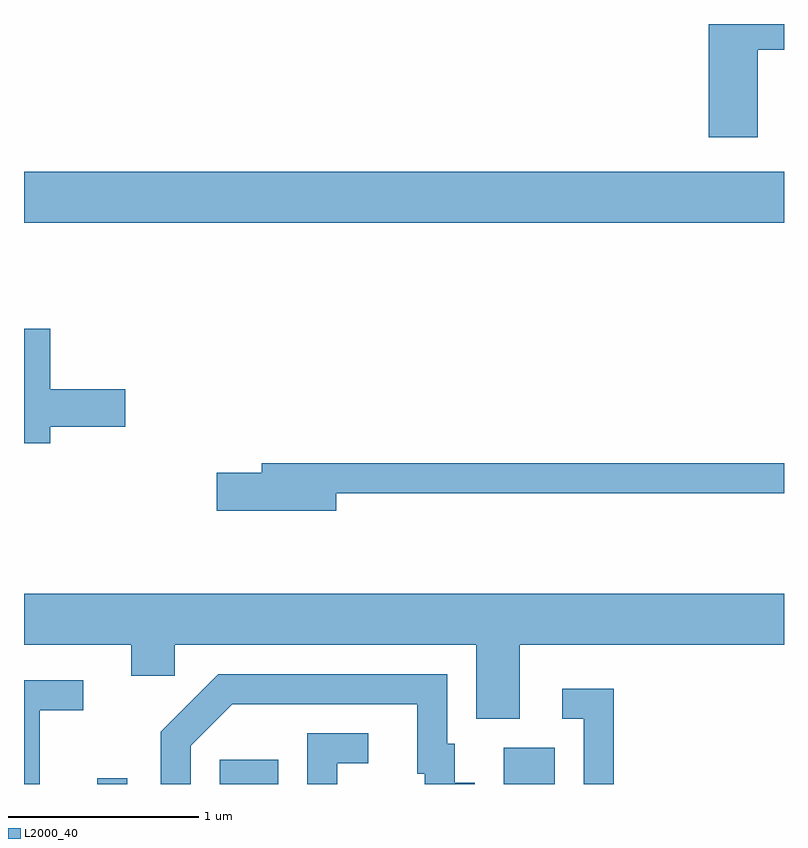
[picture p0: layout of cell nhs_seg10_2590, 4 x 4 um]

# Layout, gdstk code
import gdstk
lib = gdstk.Library(unit=1e-6, precision=1e-09)
def R(c, l, rs):  # rectangles x0, y0, x1, y1
    for r in rs: c.add(gdstk.rectangle(r[:2], r[2:], *l))
def P(c, l, *ps):  # polygons
    for p in ps: c.add(gdstk.Polygon(p, *l))
L2000_40 = (2000, 40)

nhs_seg10_2590 = lib.new_cell('nhs_seg10_2590')
R(nhs_seg10_2590, L2000_40, [(261.996,2106.522,262.154,2106.553), (262.641,2106.522,262.949,2106.649), (264.136,2106.522,264.404,2106.714), (261.611,2109.476,265.611,2109.744)])
P(nhs_seg10_2590, L2000_40, [(265.474,2110.386),(265.611,2110.386),(265.611,2110.522),(265.216,2110.522),(265.216,2109.926),(265.474,2109.926)],
  [(261.749,2108.401),(262.144,2108.401),(262.144,2108.599),(261.749,2108.599),(261.749,2108.919),(261.611,2108.919),(261.611,2108.316),(261.749,2108.316)],
  [(263.254,2108.051),(265.611,2108.051),(265.611,2108.209),(262.861,2108.209),(262.861,2108.159),(262.626,2108.159),(262.626,2107.961),(263.254,2107.961)],
  [(264.219,2107.256),(265.611,2107.256),(265.611,2107.524),(261.611,2107.524),(261.611,2107.256),(262.176,2107.256),(262.176,2107.091),(262.404,2107.091),(262.404,2107.256),(263.991,2107.256),(263.991,2106.866),(264.219,2106.866)],
  [(262.489,2106.724),(262.707,2106.941),(263.681,2106.941),(263.681,2106.576),(263.721,2106.576),(263.721,2106.522),(263.984,2106.522),(263.984,2106.529),(263.879,2106.529),(263.879,2106.734),(263.839,2106.734),(263.839,2107.099),(262.634,2107.099),(262.331,2106.797),(262.331,2106.522),(262.489,2106.522)],
  [(261.694,2106.911),(261.923,2106.911),(261.923,2107.069),(261.611,2107.069),(261.611,2106.522),(261.694,2106.522)],
  [(264.714,2107.024),(264.443,2107.024),(264.443,2106.866),(264.556,2106.866),(264.556,2106.522),(264.714,2106.522)],
  [(263.259,2106.631),(263.423,2106.631),(263.423,2106.789),(263.101,2106.789),(263.101,2106.522),(263.259,2106.522)])

lib.write_gds('nhs_seg10_2590.gds')
